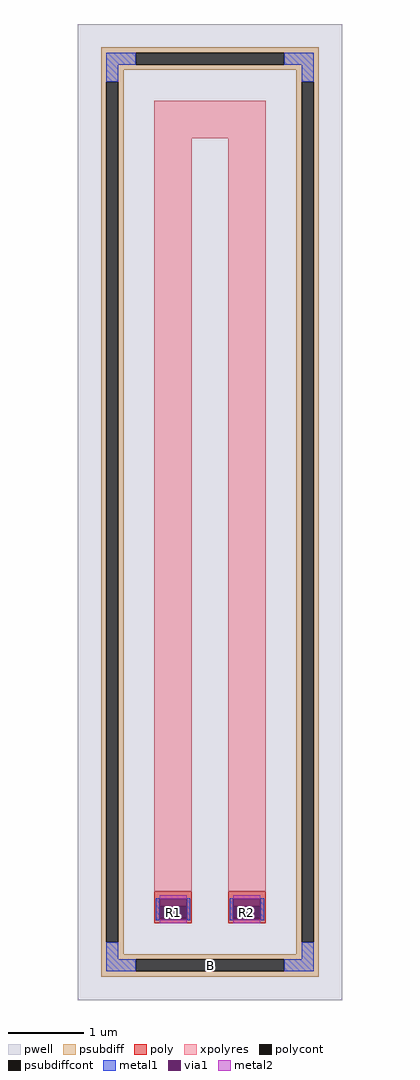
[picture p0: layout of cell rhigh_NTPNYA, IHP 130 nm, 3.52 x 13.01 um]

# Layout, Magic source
magic
tech ihp-sg13g2
magscale 1 2
<< pwell >>
rect -352 -1301 352 1301
<< psubdiff >>
rect -290 1225 290 1239
rect -290 1193 -198 1225
rect 198 1193 290 1225
rect -290 1179 290 1193
rect -290 1147 -230 1179
rect -290 -1147 -276 1147
rect -244 -1147 -230 1147
rect 230 1147 290 1179
rect -290 -1179 -230 -1147
rect 230 -1147 244 1147
rect 276 -1147 290 1147
rect 230 -1179 290 -1147
rect -290 -1193 290 -1179
rect -290 -1225 -198 -1193
rect 198 -1225 290 -1193
rect -290 -1239 290 -1225
<< psubdiffcont >>
rect -198 1193 198 1225
rect -276 -1147 -244 1147
rect 244 -1147 276 1147
rect -198 -1225 198 -1193
<< poly >>
rect -148 -1051 -48 -1011
rect -148 -1083 -134 -1051
rect -62 -1083 -48 -1051
rect -148 -1097 -48 -1083
rect 48 -1051 148 -1011
rect 48 -1083 62 -1051
rect 134 -1083 148 -1051
rect 48 -1097 148 -1083
<< polycont >>
rect -134 -1083 -62 -1051
rect 62 -1083 134 -1051
<< xpolyres >>
rect -148 997 148 1097
rect -148 -1011 -48 997
rect 48 -1011 148 997
<< metal1 >>
rect -276 1193 -198 1225
rect 198 1193 276 1225
rect -276 1147 -244 1193
rect 244 1147 276 1193
rect -144 -1031 -52 -1030
rect -144 -1087 -134 -1031
rect -62 -1087 -52 -1031
rect -144 -1088 -52 -1087
rect 52 -1031 144 -1030
rect 52 -1087 62 -1031
rect 134 -1087 144 -1031
rect 52 -1088 144 -1087
rect -276 -1193 -244 -1147
rect 244 -1193 276 -1147
rect -276 -1225 -198 -1193
rect 198 -1225 276 -1193
<< via1 >>
rect -134 -1051 -62 -1031
rect -134 -1083 -62 -1051
rect -134 -1087 -62 -1083
rect 62 -1051 134 -1031
rect 62 -1083 134 -1051
rect 62 -1087 134 -1083
<< metal2 >>
rect -134 -1031 -62 -1022
rect -134 -1096 -62 -1087
rect 62 -1031 134 -1022
rect 62 -1096 134 -1087
<< labels >>
rlabel psubdiffcont 0 -1209 0 -1209 0 B
port 1 nsew
rlabel polycont -98 -1067 -98 -1067 0 R1
port 2 nsew
rlabel polycont 98 -1067 98 -1067 0 R2
port 3 nsew
<< properties >>
string FIXED_BBOX -260 -1209 260 1209
string gencell rhigh
string library sg13g2
string parameters w 0.50 l 10.3385 m 1 nx 2 wmin 0.50 lmin 0.50 class resistor rho 1360 val 57.604k dummy 0 dw 0.0 term 0.0 sterm 0.0 caplen 0 guard 1 glc 1 grc 1 gtc 1 gbc 1 snake 1 full_metal 1 n_guard 0 hv_guard 0 vias 1 viagb 0 viagt 0 viagl 0 viagr 0 doports 1
<< end >>
